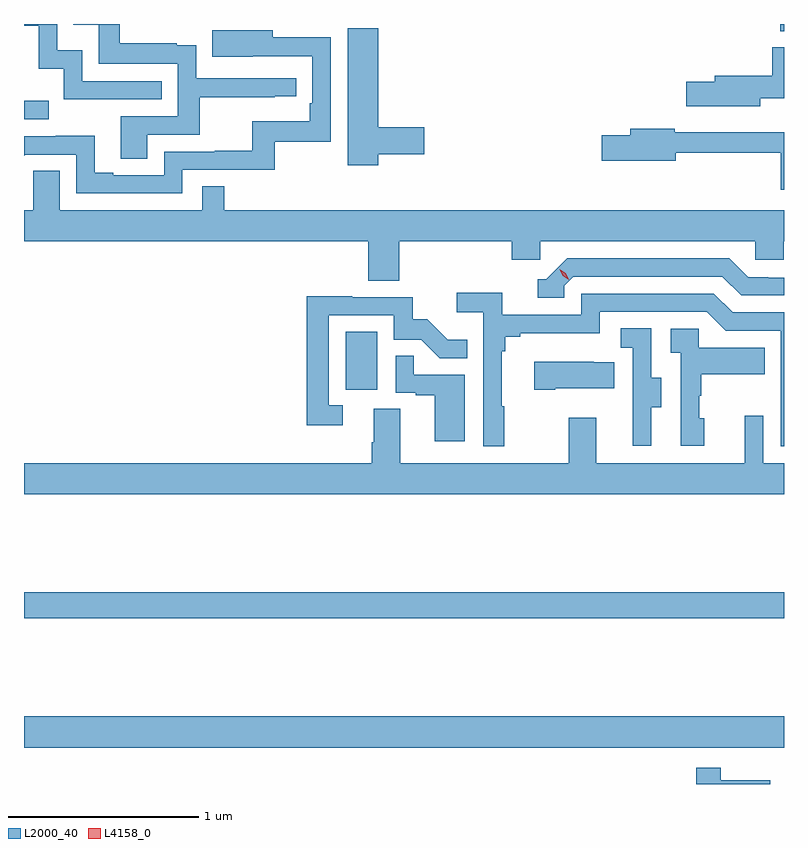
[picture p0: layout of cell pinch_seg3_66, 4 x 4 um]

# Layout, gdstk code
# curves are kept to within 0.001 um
import gdstk
lib = gdstk.Library(unit=1e-6, precision=1e-09)
def R(c, l, rs):  # rectangles x0, y0, x1, y1
    for r in rs: c.add(gdstk.rectangle(r[:2], r[2:], *l))
def P(c, l, *ps):  # polygons
    for p in ps: c.add(gdstk.Polygon(p, *l))
L2000_40 = (2000, 40)
L4158_0 = (4158, 0)

pinch_seg3_66 = lib.new_cell('pinch_seg3_66')
R(pinch_seg3_66, L2000_40, [(1020.324,743.54,1024.324,743.704), (1020.324,744.22,1024.324,744.356), (1022.018,745.422,1022.182,745.729), (1020.324,746.847,1020.454,746.944), (1024.303,747.311,1024.324,747.348)])
P(pinch_seg3_66, L2000_40, [(1020.973,746.766),(1021.25,746.766),(1021.25,746.962),(1021.643,746.962),(1021.643,746.967),(1021.756,746.967),(1021.756,747.063),(1021.23,747.063),(1021.23,747.235),(1021.127,747.235),(1021.127,747.247),(1020.829,747.247),(1020.829,747.348),(1020.583,747.348),(1020.583,747.344),(1020.718,747.344),(1020.718,747.138),(1021.134,747.138),(1021.134,746.862),(1020.833,746.862),(1020.833,746.638),(1020.973,746.638)],
  [(1021.049,747.048),(1020.63,747.048),(1020.63,747.211),(1020.498,747.211),(1020.498,747.348),(1020.324,747.348),(1020.324,747.339),(1020.401,747.339),(1020.401,747.113),(1020.534,747.113),(1020.534,746.952),(1021.049,746.952)],
  [(1022.188,746.662),(1022.431,746.662),(1022.431,746.804),(1022.188,746.804),(1022.188,747.325),(1022.027,747.325),(1022.027,746.604),(1022.188,746.604)],
  [(1021.158,746.58),(1021.645,746.58),(1021.645,746.727),(1021.938,746.727),(1021.938,747.278),(1021.633,747.278),(1021.633,747.316),(1021.315,747.316),(1021.315,747.176),(1021.842,747.177),(1021.842,746.932),(1021.829,746.932),(1021.829,746.836),(1021.524,746.836),(1021.524,746.681),(1021.327,746.681),(1021.327,746.676),(1021.062,746.676),(1021.062,746.553),(1020.793,746.553),(1020.793,746.566),(1020.697,746.566),(1020.697,746.759),(1020.492,746.759),(1020.492,746.757),(1020.324,746.757),(1020.324,746.655),(1020.33,746.661),(1020.6,746.661),(1020.6,746.457),(1021.158,746.457)],
  [(1024.198,746.957),(1024.324,746.957),(1024.324,747.226),(1024.262,747.226),(1024.262,747.075),(1023.959,747.075),(1023.959,747.045),(1023.81,747.045),(1023.81,746.915),(1024.198,746.915)],
  [(1024.324,746.779),(1023.75,746.779),(1023.75,746.798),(1023.515,746.798),(1023.515,746.762),(1023.366,746.762),(1023.366,746.627),(1023.754,746.627),(1023.754,746.67),(1024.306,746.67),(1024.306,746.475),(1024.324,746.475)],
  [(1022.3,746.204),(1022.891,746.204),(1022.891,746.106),(1023.042,746.106),(1023.042,746.204),(1024.173,746.204),(1024.173,746.106),(1024.323,746.106),(1024.323,746.204),(1024.324,746.204),(1024.324,746.368),(1021.379,746.368),(1021.379,746.495),(1021.263,746.495),(1021.263,746.368),(1020.511,746.368),(1020.511,746.576),(1020.372,746.576),(1020.372,746.368),(1020.324,746.368),(1020.324,746.204),(1022.135,746.204),(1022.135,745.996),(1022.3,745.996)],
  [(1023.168,745.971),(1023.216,746.019),(1023.999,746.019),(1024.098,745.92),(1024.324,745.92),(1024.324,746.013),(1024.242,746.013),(1024.242,746.016),(1024.135,746.016),(1024.036,746.115),(1023.183,746.115),(1023.072,746.004),(1023.029,746.004),(1023.029,745.908),(1023.168,745.908)],
  [(1022.851,745.337),(1022.839,745.337),(1022.839,745.625),(1022.858,745.625),(1022.858,745.702),(1022.935,745.702),(1022.935,745.721),(1023.354,745.721),(1023.354,745.833),(1023.918,745.833),(1024.017,745.734),(1024.308,745.734),(1024.308,745.125),(1024.324,745.125),(1024.324,745.83),(1024.054,745.83),(1023.955,745.929),(1023.258,745.929),(1023.258,745.818),(1022.84,745.818),(1022.84,745.934),(1022.601,745.934),(1022.601,745.832),(1022.742,745.832),(1022.742,745.125),(1022.851,745.125)],
  [(1022.002,745.341),(1021.929,745.341),(1021.929,745.815),(1022.271,745.815),(1022.271,745.686),(1022.415,745.686),(1022.513,745.588),(1022.657,745.588),(1022.657,745.687),(1022.553,745.687),(1022.446,745.794),(1022.37,745.794),(1022.37,745.911),(1022.051,745.911),(1022.051,745.916),(1021.813,745.916),(1021.813,745.236),(1022.002,745.236)],
  [(1023.625,745.33),(1023.679,745.33),(1023.679,745.485),(1023.624,745.485),(1023.624,745.748),(1023.465,745.748),(1023.465,745.645),(1023.528,745.645),(1023.528,745.341),(1023.527,745.341),(1023.527,745.128),(1023.625,745.128)],
  [(1023.904,745.272),(1023.879,745.272),(1023.879,745.391),(1023.889,745.391),(1023.889,745.505),(1024.223,745.505),(1024.223,745.645),(1023.876,745.645),(1023.876,745.743),(1023.729,745.743),(1023.729,745.619),(1023.78,745.619),(1023.78,745.128),(1023.904,745.128)],
  [(1022.644,745.503),(1022.375,745.503),(1022.375,745.601),(1022.28,745.601),(1022.28,745.407),(1022.387,745.407),(1022.387,745.395),(1022.486,745.395),(1022.486,745.152),(1022.644,745.152)],
  [(1023.121,745.43),(1023.431,745.43),(1023.431,745.567),(1023.323,745.567),(1023.323,745.57),(1023.009,745.57),(1023.009,745.423),(1023.121,745.423)],
  [(1024.324,745.036),(1024.215,745.036),(1024.215,745.285),(1024.118,745.285),(1024.118,745.036),(1023.337,745.036),(1023.337,745.276),(1023.19,745.276),(1023.19,745.036),(1022.305,745.036),(1022.305,745.322),(1022.165,745.322),(1022.165,745.148),(1022.153,745.148),(1022.153,745.036),(1020.324,745.036),(1020.324,744.872),(1024.324,744.872)],
  [(1024.252,743.368),(1023.991,743.368),(1023.991,743.434),(1023.862,743.434),(1023.862,743.348),(1024.252,743.348)])
P(pinch_seg3_66, L4158_0, [(1023.19,746.003),(1023.159,746.023),(1023.143,746.055),(1023.143,746.056),(1023.143,746.056),(1023.174,746.036),(1023.19,746.003),(1023.19,746.003)])

lib.write_gds('pinch_seg3_66.gds')
